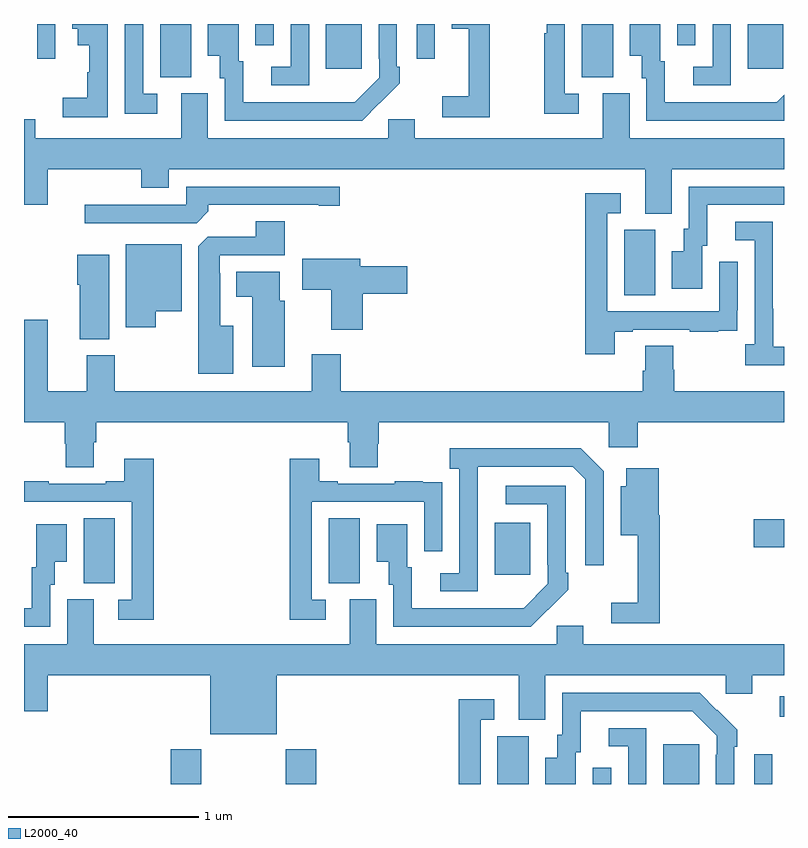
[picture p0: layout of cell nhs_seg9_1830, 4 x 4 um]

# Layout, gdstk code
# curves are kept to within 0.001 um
import gdstk
lib = gdstk.Library(unit=1e-6, precision=1e-09)
def R(c, l, rs):  # rectangles x0, y0, x1, y1
    for r in rs: c.add(gdstk.rectangle(r[:2], r[2:], *l))
def P(c, l, *ps):  # polygons
    for p in ps: c.add(gdstk.Polygon(p, *l))
L2000_40 = (2000, 40)

nhs_seg9_1830 = lib.new_cell('nhs_seg9_1830')
R(nhs_seg9_1830, L2000_40, [(213.773,1210.5,213.933,1210.684), (214.378,1210.5,214.538,1210.684), (215.492,1210.5,215.656,1210.752), (215.994,1210.5,216.09,1210.585), (216.365,1210.5,216.553,1210.708), (216.843,1210.5,216.939,1210.657), (216.978,1210.854,217,1210.962), (213.314,1211.557,213.478,1211.9), (214.604,1211.557,214.768,1211.9), (215.477,1211.601,215.665,1211.875), (216.84,1211.747,217,1211.894), (216.158,1213.072,216.322,1213.416), (213.716,1214.221,213.88,1214.5), (215.936,1214.221,216.1,1214.5), (214.589,1214.265,214.777,1214.5), (216.809,1214.265,216.997,1214.5), (213.069,1214.316,213.165,1214.5), (215.067,1214.316,215.163,1214.5), (214.218,1214.388,214.314,1214.5), (216.438,1214.388,216.534,1214.5)])
P(nhs_seg9_1830, L2000_40, [(213.7,1214.133),(213.627,1214.133),(213.627,1214.5),(213.531,1214.5),(213.531,1214.028),(213.7,1214.028)],
  [(214.5,1214.5),(214.404,1214.5),(214.404,1214.274),(214.302,1214.274),(214.302,1214.178),(214.5,1214.178)],
  [(216.72,1214.5),(216.624,1214.5),(216.624,1214.274),(216.522,1214.274),(216.522,1214.178),(216.72,1214.178)],
  [(215.452,1214.5),(215.252,1214.5),(215.252,1214.474),(215.342,1214.474),(215.342,1214.119),(215.202,1214.119),(215.202,1214.01),(215.452,1214.01)],
  [(217,1214.128),(216.961,1214.089),(216.373,1214.088),(216.373,1214.304),(216.349,1214.304),(216.349,1214.5),(216.188,1214.5),(216.188,1214.333),(216.251,1214.333),(216.251,1214.214),(216.276,1214.214),(216.276,1213.992),(217,1213.992)],
  [(214.871,1214.083),(214.872,1214.082),(214.977,1214.187),(214.977,1214.275),(214.962,1214.275),(214.962,1214.5),(214.866,1214.5),(214.866,1214.317),(214.869,1214.317),(214.869,1214.217),(214.741,1214.089),(214.637,1214.088),(214.153,1214.088),(214.153,1214.304),(214.129,1214.304),(214.129,1214.5),(213.968,1214.5),(213.968,1214.333),(214.031,1214.333),(214.031,1214.214),(214.056,1214.214),(214.056,1213.992),(214.78,1213.992)],
  [(215.92,1214.133),(215.847,1214.133),(215.847,1214.5),(215.751,1214.5),(215.751,1214.451),(215.739,1214.451),(215.739,1214.028),(215.92,1214.028)],
  [(213.441,1214.491),(213.442,1214.491),(213.442,1214.5),(213.254,1214.5),(213.254,1214.474),(213.284,1214.474),(213.284,1214.387),(213.344,1214.387),(213.344,1214.247),(213.333,1214.247),(213.333,1214.111),(213.204,1214.111),(213.204,1214.01),(213.441,1214.01)],
  [(216.409,1213.736),(217,1213.736),(217,1213.9),(216.187,1213.9),(216.187,1214.136),(216.047,1214.136),(216.047,1213.9),(215.056,1213.9),(215.056,1213.998),(214.917,1213.998),(214.917,1213.9),(213.967,1213.9),(213.967,1214.136),(213.827,1214.136),(213.827,1213.9),(213.058,1213.9),(213.058,1213.998),(213,1213.998),(213,1213.548),(213.124,1213.548),(213.124,1213.736),(213.616,1213.736),(213.616,1213.637),(213.763,1213.637),(213.763,1213.736),(216.269,1213.736),(216.269,1213.501),(216.409,1213.501)],
  [(213.971,1213.514),(213.971,1213.548),(214.55,1213.548),(214.55,1213.543),(214.663,1213.543),(214.663,1213.644),(213.855,1213.644),(213.855,1213.548),(213.321,1213.548),(213.321,1213.452),(213.909,1213.452)],
  [(216.571,1213.332),(216.595,1213.332),(216.595,1213.548),(217,1213.548),(217,1213.644),(216.498,1213.644),(216.498,1213.422),(216.473,1213.422),(216.473,1213.303),(216.41,1213.303),(216.41,1213.107),(216.571,1213.107)],
  [(216.109,1212.879),(216.205,1212.879),(216.205,1212.891),(216.505,1212.891),(216.505,1212.879),(216.653,1212.879),(216.653,1212.885),(216.755,1212.885),(216.755,1212.994),(216.756,1212.994),(216.756,1213.249),(216.66,1213.249),(216.66,1212.987),(216.069,1212.987),(216.069,1213.503),(216.142,1213.503),(216.142,1213.609),(215.953,1213.609),(215.953,1212.762),(216.109,1212.762)],
  [(214.102,1212.913),(214.033,1212.913),(214.033,1213.187),(214.029,1213.187),(214.029,1213.284),(214.373,1213.284),(214.373,1213.463),(214.22,1213.463),(214.22,1213.38),(213.966,1213.38),(213.917,1213.331),(213.917,1212.659),(214.102,1212.659)],
  [(217,1212.801),(216.943,1212.801),(216.943,1213.001),(216.942,1213.001),(216.942,1213.458),(216.744,1213.458),(216.744,1213.362),(216.846,1213.362),(216.846,1212.814),(216.795,1212.814),(216.795,1212.704),(217,1212.704)],
  [(213.694,1212.989),(213.829,1212.989),(213.829,1213.342),(213.536,1213.342),(213.536,1212.903),(213.694,1212.903)],
  [(213.448,1213.285),(213.281,1213.285),(213.281,1213.127),(213.293,1213.127),(213.293,1212.841),(213.448,1212.841)],
  [(214.784,1213.079),(215.017,1213.079),(215.017,1213.226),(214.771,1213.226),(214.771,1213.264),(214.464,1213.264),(214.464,1213.102),(214.616,1213.102),(214.616,1212.891),(214.784,1212.891)],
  [(214.372,1213.044),(214.345,1213.044),(214.345,1213.195),(214.118,1213.195),(214.118,1213.064),(214.202,1213.064),(214.202,1212.696),(214.372,1212.696)],
  [(213.367,1212.298),(213.38,1212.298),(213.38,1212.404),(214.703,1212.404),(214.703,1212.298),(214.715,1212.298),(214.715,1212.166),(214.863,1212.166),(214.863,1212.291),(214.868,1212.291),(214.868,1212.404),(216.078,1212.404),(216.078,1212.273),(216.23,1212.273),(216.23,1212.404),(217,1212.404),(217,1212.568),(216.422,1212.568),(216.422,1212.681),(216.417,1212.681),(216.417,1212.806),(216.269,1212.806),(216.269,1212.674),(216.257,1212.674),(216.257,1212.568),(214.667,1212.568),(214.667,1212.763),(214.514,1212.763),(214.514,1212.568),(213.477,1212.568),(213.477,1212.756),(213.329,1212.756),(213.329,1212.568),(213.124,1212.568),(213.124,1212.943),(213,1212.943),(213,1212.404),(213.215,1212.404),(213.215,1212.291),(213.22,1212.291),(213.22,1212.166),(213.367,1212.166)],
  [(215.388,1211.971),(215.389,1212.171),(215.889,1212.171),(215.955,1212.105),(215.955,1211.652),(216.051,1211.652),(216.051,1212.147),(215.93,1212.268),(215.241,1212.268),(215.241,1212.158),(215.292,1212.158),(215.292,1211.61),(215.19,1211.61),(215.19,1211.514),(215.388,1211.514)],
  [(213.683,1212.211),(213.527,1212.211),(213.527,1212.094),(213.431,1212.094),(213.431,1212.081),(213.131,1212.081),(213.131,1212.094),(213,1212.094),(213,1211.985),(213.567,1211.985),(213.567,1211.469),(213.495,1211.469),(213.495,1211.364),(213.683,1211.364)],
  [(214.588,1211.469),(214.515,1211.469),(214.515,1211.985),(215.106,1211.985),(215.106,1211.724),(215.202,1211.724),(215.202,1211.978),(215.201,1211.978),(215.201,1212.087),(215.099,1212.087),(215.099,1212.094),(214.951,1212.094),(214.951,1212.081),(214.651,1212.081),(214.651,1212.094),(214.555,1212.094),(214.555,1212.211),(214.399,1212.211),(214.399,1211.364),(214.588,1211.364)],
  [(216.347,1211.914),(216.341,1211.914),(216.341,1212.163),(216.17,1212.163),(216.17,1212.067),(216.14,1212.067),(216.14,1211.81),(216.23,1211.81),(216.23,1211.455),(216.09,1211.455),(216.09,1211.346),(216.347,1211.346)],
  [(215.759,1211.419),(215.76,1211.418),(215.865,1211.523),(215.865,1211.611),(215.85,1211.611),(215.85,1212.069),(215.535,1212.069),(215.535,1211.973),(215.754,1211.973),(215.754,1211.653),(215.757,1211.653),(215.757,1211.553),(215.629,1211.425),(215.041,1211.424),(215.041,1211.64),(215.017,1211.64),(215.017,1211.866),(214.856,1211.866),(214.856,1211.669),(214.919,1211.669),(214.919,1211.55),(214.944,1211.55),(214.944,1211.328),(215.668,1211.328)],
  [(213.138,1211.55),(213.163,1211.55),(213.163,1211.669),(213.226,1211.669),(213.226,1211.866),(213.065,1211.866),(213.065,1211.64),(213.041,1211.64),(213.041,1211.424),(213,1211.424),(213,1211.328),(213.138,1211.328)],
  [(214.33,1211.072),(215.603,1211.072),(215.603,1210.837),(215.743,1210.837),(215.743,1211.072),(216.693,1211.072),(216.693,1210.974),(216.832,1210.974),(216.832,1211.072),(217,1211.072),(217,1211.236),(215.944,1211.236),(215.944,1211.334),(215.805,1211.334),(215.805,1211.236),(214.855,1211.236),(214.855,1211.472),(214.715,1211.472),(214.715,1211.236),(213.367,1211.236),(213.367,1211.472),(213.227,1211.472),(213.227,1211.236),(213,1211.236),(213,1210.884),(213.124,1210.884),(213.124,1211.072),(213.98,1211.072),(213.98,1210.763),(214.33,1210.763)],
  [(215.905,1210.668),(215.929,1210.668),(215.929,1210.884),(216.517,1210.884),(216.645,1210.755),(216.645,1210.655),(216.642,1210.655),(216.642,1210.5),(216.738,1210.5),(216.738,1210.697),(216.753,1210.697),(216.753,1210.785),(216.556,1210.98),(215.832,1210.98),(215.832,1210.758),(215.807,1210.758),(215.807,1210.639),(215.744,1210.639),(215.744,1210.5),(215.905,1210.5)],
  [(215.403,1210.839),(215.476,1210.839),(215.476,1210.945),(215.287,1210.945),(215.287,1210.5),(215.403,1210.5)],
  [(216.276,1210.794),(216.078,1210.794),(216.078,1210.698),(216.18,1210.698),(216.18,1210.5),(216.276,1210.5)])

lib.write_gds('nhs_seg9_1830.gds')
